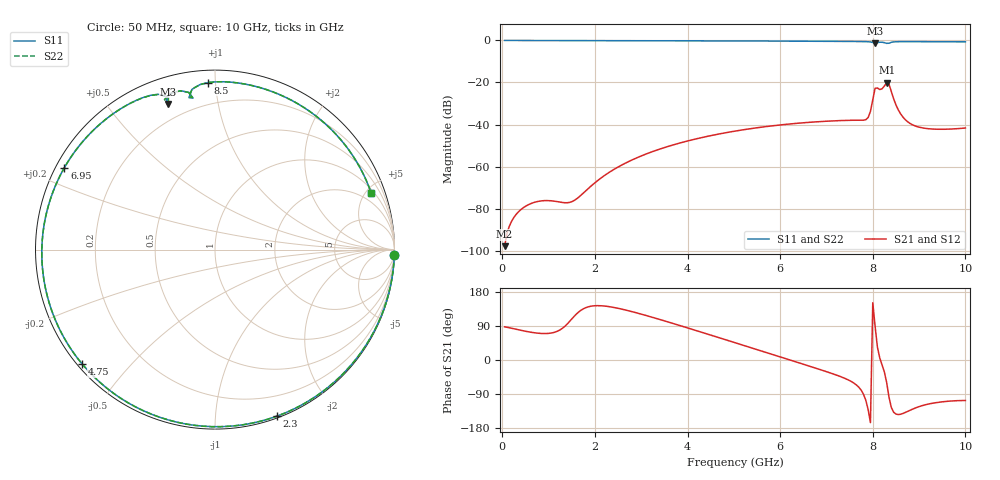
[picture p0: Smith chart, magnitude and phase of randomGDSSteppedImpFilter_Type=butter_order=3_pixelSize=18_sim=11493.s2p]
! freq	dB(S11)	phase(S11)	dB(S12)	phase(S12)
!  dB(S21)	phase(S21)	dB(S22)	phase(S22)
!S-par simulation data
#  GHz  S  DB  R 50
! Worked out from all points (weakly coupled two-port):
!   200 points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, 50 MHz to 10 GHz, reference 50 ohm
!   highest |S21| = -20.14 dB at 8.3 GHz (marker M1); lowest = -97.9 dB at 50 MHz (marker M2)
!   lowest |S11| = -1.4 dB at 8.05 GHz (marker M3), VSWR 12.52, Z = 6.1 + j36.1 ohm
!   |S11| at or under -10 dB: nowhere
!   |S22| runs from -1.5 to 0.0 dB; largest |S21 - S12| = 0
!   S11 on the Smith chart (normalised r, x): 50 MHz: 2, -73; 2.3 GHz: 0.02, -1.44; 4.75 GHz: 0.01, -0.37; 6.95 GHz: 0.02, +0.25; 8.5 GHz: 0.07, +0.96; 10 GHz: 1.23, +5.42
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0.05  -0.01 -1.6  -97.90 87.6  -97.90 87.6  -0.01 -1.6
0.4  -0.01 -12.4  -80.52 78.4  -80.52 78.4  -0.01 -12.4
0.85  -0.03 -26.3  -76.33 70.0  -76.33 70.0  -0.03 -26.3
1.45  -0.06 -44.5  -77.09 101.3  -77.09 101.3  -0.06 -44.5
1.75  -0.07 -53.4  -72.63 135.1  -72.63 135.1  -0.07 -53.4
2.3  -0.09 -69.6  -62.89 140.9  -62.89 140.9  -0.09 -69.6
3.4  -0.13 -101.1  -51.70 107.0  -51.70 107.0  -0.13 -101.1
4.75  -0.20 -139.2  -44.22 56.2  -44.22 56.2  -0.20 -139.3
5.05  -0.23 -147.9  -43.05 44.7  -43.05 44.7  -0.23 -147.9
5.9  -0.29 -173.4  -40.45 12.1  -40.45 12.1  -0.29 -173.5
6.7  -0.37 160.3  -38.85 -18.9  -38.85 -18.9  -0.37 160.2
6.95  -0.40 151.4  -38.50 -28.7  -38.50 -28.7  -0.40 151.3
7.85  -0.56 115.4  -37.70 -106.4  -37.70 -106.4  -0.57 115.2
7.95  -0.71 110.1  -33.73 -165.3  -33.73 -165.3  -0.73 109.8
8.05  -1.39 107.8  -22.78 89.5  -22.78 89.5  -1.52 107.9
8.2  -0.87 102.1  -23.01 -12.6  -23.01 -12.6  -0.86 102.4
8.3  -1.38 98.2  -20.14 -59.5  -20.14 -59.5  -1.35 98.4
8.35  -1.32 99.7  -20.82 -97.8  -20.82 -97.8  -1.29 99.7
8.5  -0.62 92.3  -30.64 -142.7  -30.64 -142.7  -0.62 92.3
8.7  -0.56 82.0  -37.65 -138.7  -37.65 -138.7  -0.56 82.0
8.95  -0.57 69.9  -40.95 -125.2  -40.95 -125.2  -0.57 69.9
10  -0.67 19.9  -41.66 -106.9  -41.66 -106.9  -0.67 20.0
